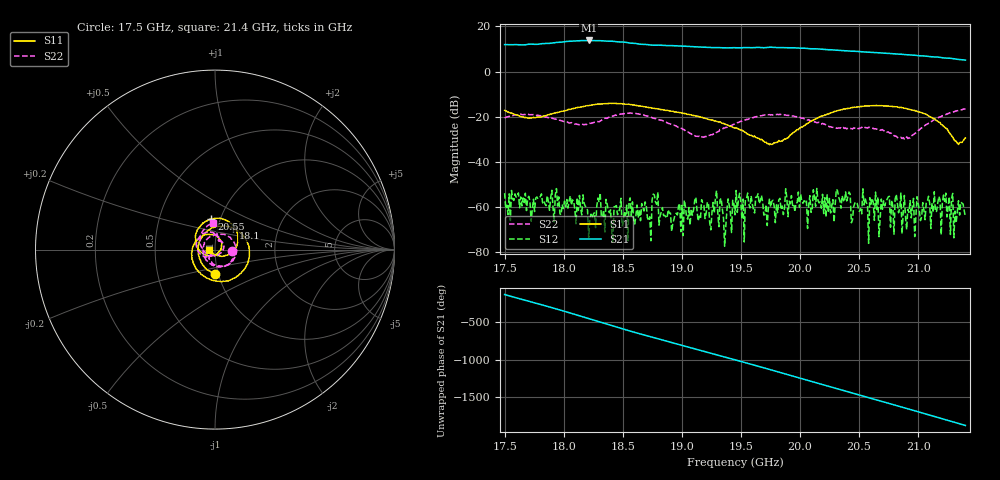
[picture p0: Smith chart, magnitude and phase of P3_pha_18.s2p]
!Created with skrf (http://scikit-rf.org).
# GHz S RI R 50.0
!freq ReS11 ImS11 ReS21 ImS21 ReS12 ImS12 ReS22 ImS22
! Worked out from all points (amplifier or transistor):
!   401 points, 17.5 GHz to 21.4 GHz, reference 50 ohm
!   highest |S21| = 13.8 dB at 18.21 GHz (marker M1)
!   |S21| within 3 dB of that: start of sweep to 19.19 GHz (the widest 1 of 2)
!   unconditionally stable (mu >= 1): start of sweep to end of sweep
!   at 18.14 GHz: K = 109.08, MAG = 13.8 dB, |S12| = -60.7 dB
!   at 19.45 GHz: K = 218.85, MAG = 10.6 dB, |S12| = -63.5 dB
!   at 21.4 GHz: K = 458.77, MAG = 5.2 dB, |S12| = -64.5 dB
!   S11 on the Smith chart (normalised r, x): 17.5 GHz: 0.96, -0.27; 18.1 GHz: 1.19, +0.29; 20.55 GHz: 0.91, +0.32; 21.4 GHz: 0.94, -0.01
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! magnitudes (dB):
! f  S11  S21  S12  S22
! 17.5 GHz  -17.2  11.9  -53.8  -20.5
! 18.1 GHz  -16.1  13.6  -67.4  -23.2
! 18.15 GHz  -15.6  13.7  -63.5  -23.2
! 18.21 GHz  -15.1  13.8  -73.5  -23.0
! 18.3 GHz  -14.4  13.7  -57.9  -22.3
! 18.4 GHz  -14.0  13.5  -61.2  -20.0
! 18.68 GHz  -15.6  12.0  -61.7  -19.3
! 18.72 GHz  -15.9  11.9  -66.0  -19.8
! 18.78 GHz  -16.4  11.7  -57.8  -20.8
! 18.81 GHz  -16.6  11.7  -68.0  -21.3
! 19.25 GHz  -21.5  10.6  -62.3  -28.0
! 19.28 GHz  -21.8  10.6  -56.2  -27.2
! 19.36 GHz  -23.1  10.5  -77.3  -25.0
! 19.45 GHz  -24.9  10.6  -63.5  -23.2
! 19.75 GHz  -32.0  10.8  -60.0  -19.2
! 20.1 GHz  -21.7  10.1  -61.4  -22.1
! 20.45 GHz  -15.9  9.0  -59.9  -25.0
! 20.55 GHz  -15.2  8.7  -56.1  -24.8
! 20.76 GHz  -15.4  8.0  -55.2  -27.1
! 20.88 GHz  -16.2  7.5  -54.9  -29.9
! 21.22 GHz  -24.6  6.0  -57.5  -19.2
! 21.4 GHz  -29.4  5.1  -64.5  -16.5
